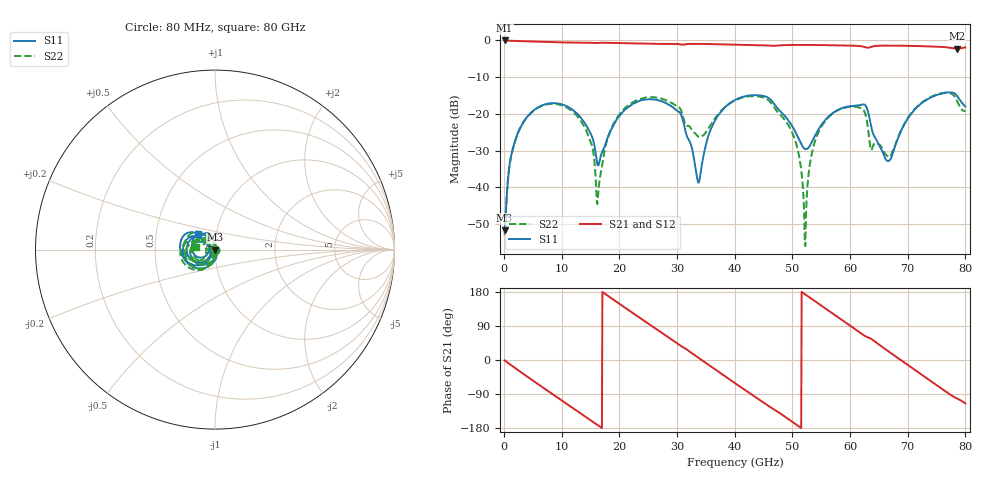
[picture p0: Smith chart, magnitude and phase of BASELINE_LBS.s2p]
! TOUCHSTONE file generated by CST MICROWAVE STUDIO
! Date and time: Tue Nov 17 16:36:41 2026
! Project name: BASELINE - L+B+S.cst
! Parameters = {BEND_RADIUS=0.1025; BOX_H=0.0047; CAP_H=0.0014; CAP_W=0.002; CLAD_H=0.0036; DEV_L=2.86; DEV_W=1.2; EL_L=2.16; EL_L2=1.08; EL_L3=1.44; GAP=0.00445; GAP2=0.0048; ISTANBUL_V1=0; L1=0.02; L2=0.066; L_OFF=0.04; MTX=0.002; N_CELL=11; N_CELL2=5; N_CELL3=7; PITCH=0.18; SI_H=0.525; SLAB_H=0.0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
! Header version: 2024
! Port assignment regex: !\s*Touchstone port\s*([0-9]+)\s*=\s*(CST MWS port|CST DES external port|CST DES block port)\s*(.+)\s* \(\"(.*)\"\)(\s*mode\s*([0-9]+))?.*
! Touchstone port assignment:
! Touchstone port 1 = CST MWS port 1 ("")
! Touchstone port 2 = CST MWS port 2 ("")
# GHz S MA R 50
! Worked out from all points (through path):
!   1000 points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, 80 MHz to 80 GHz, reference 50 ohm
!   highest |S21| = -0.02 dB at 80 MHz (marker M1); lowest = -2.3 dB at 78.56 GHz (marker M2)
!   group delay of S21, straight-line fit = 29 ps
!   lowest |S11| = -51.7 dB at 80 MHz (marker M3), VSWR 1.01, Z = 50.3 - j0.0525 ohm
!   |S11| at or under -10 dB: start of sweep to end of sweep
!   |S22| runs from -56.0 to -14.2 dB; largest |S21 - S12| = 0.0008
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0.08  0.002595 -11.6  0.9974 -1.0  0.9976 -1.0  0.002239 -9.5
1.28  0.02854 -75.9  0.9859 -14.4  0.9862 -14.4  0.02811 -76.7
3.76  0.08651 -114.6  0.97 -41.2  0.9702 -41.2  0.08537 -115.7
8.48  0.1399 -167.1  0.9439 -91.0  0.9437 -90.9  0.1368 -169.9
13.44  0.08574 149.3  0.9334 -142.7  0.9329 -142.7  0.0769 137.6
16.32  0.0198 -179.7  0.9231 -172.6  0.923 -172.5  0.008354 -66.4
19.68  0.08729 -132.2  0.9201 151.5  0.9199 151.5  0.09095 -107.9
26.72  0.1531 164.9  0.8956 78.2  0.8964 78.2  0.1652 -174.5
30.56  0.1019 116.5  0.8832 37.7  0.8838 37.7  0.117 150.4
33.68  0.01163 19.0  0.8948 5.9  0.8944 5.9  0.04877 179.8
36.16  0.06983 -96.6  0.8903 -20.4  0.8898 -20.4  0.07771 -142.4
40.08  0.155 -141.0  0.876 -61.6  0.8759 -61.5  0.1532 -160.8
49.2  0.08338 139.0  0.8644 -154.9  0.8643 -154.9  0.07237 115.2
51.04  0.04694 144.2  0.8674 -174.4  0.8675 -174.4  0.02948 96.5
52.16  0.03338 170.3  0.8674 173.7  0.8675 173.7  0.001642 40.1
53.36  0.04138 -155.4  0.8663 161.0  0.8664 161.0  0.02895 -101.5
56.72  0.09858 -153.6  0.8593 125.5  0.859 125.5  0.09717 -136.6
62.32  0.1346 153.8  0.8197 65.6  0.82 65.6  0.1134 150.7
66.72  0.02288 -163.9  0.8489 22.1  0.8486 22.1  0.02578 -148.9
72.24  0.1362 -139.7  0.8351 -37.0  0.8351 -37.0  0.1387 -125.4
78.56  0.1753 147.2  0.7699 -101.7  0.77 -101.7  0.1493 163.1
80  0.1261 137.6  0.8024 -114.7  0.8025 -114.7  0.1095 171.8
